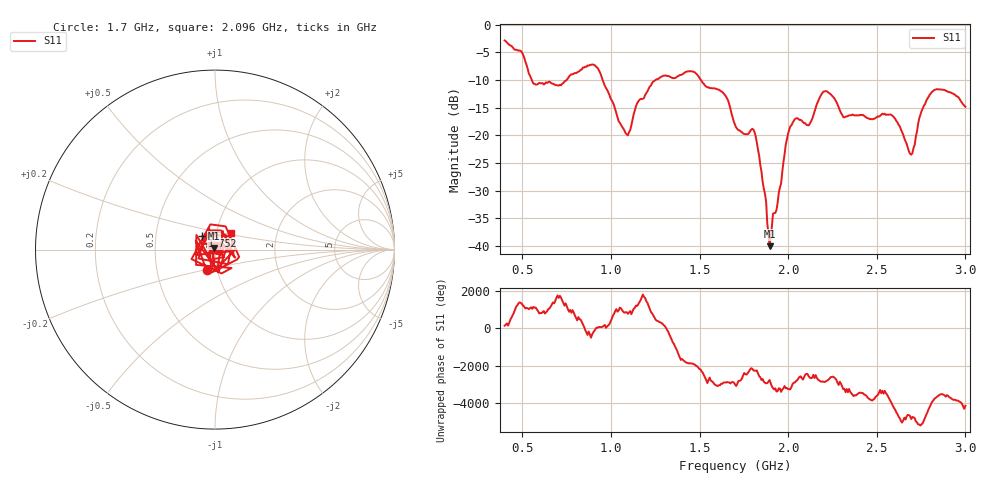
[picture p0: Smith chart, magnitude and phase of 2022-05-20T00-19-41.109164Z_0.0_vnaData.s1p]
!Created with skrf (http://scikit-rf.org).
# Hz S RI R 50.0
!freq ReS11 ImS11
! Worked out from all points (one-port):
!   401 points, 400 MHz to 3 GHz, reference 50 ohm
!   lowest |S11| = -40.0 dB at 1.895 GHz (marker M1), VSWR 1.02, Z = 49.6 + j0.907 ohm
!   |S11| at or under -10 dB: 553.5 MHz to 749.8 MHz (196.3 MHz wide, 30.1 % of centre); 953.1 MHz to 1.251 GHz (298.1 MHz wide, 27 % of centre); 1.508 GHz to end of sweep
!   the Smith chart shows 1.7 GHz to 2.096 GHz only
!   S11 on the Smith chart (normalised r, x): 1.7 GHz: 0.89, -0.21; 1.752 GHz: 0.86, +0.13; 2.096 GHz: 1.18, +0.22
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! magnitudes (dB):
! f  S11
! 400 MHz  -2.9
! 497.5 MHz  -5.0
! 569 MHz  -10.7
! 725 MHz  -10.7
! 913.5 MHz  -7.5
! 1.05 GHz  -17.7
! 1.095 GHz  -20.0
! 1.154 GHz  -13.9
! 1.238 GHz  -10.3
! 1.375 GHz  -9.4
! 1.46 GHz  -8.5
! 1.622 GHz  -12.1
! 1.7 GHz  -18.1
! 1.752 GHz  -19.7
! 1.817 GHz  -20.2
! 1.895 GHz  -40.0
! 1.947 GHz  -30.4
! 1.999 GHz  -19.8
! 2.025 GHz  -17.7
! 2.096 GHz  -17.8
! 2.207 GHz  -12.1
! 2.35 GHz  -16.4
! 2.584 GHz  -16.4
! 2.675 GHz  -22.2
! 2.701 GHz  -23.2
! 2.753 GHz  -15.6
! 2.825 GHz  -11.8
! 3 GHz  -14.8
